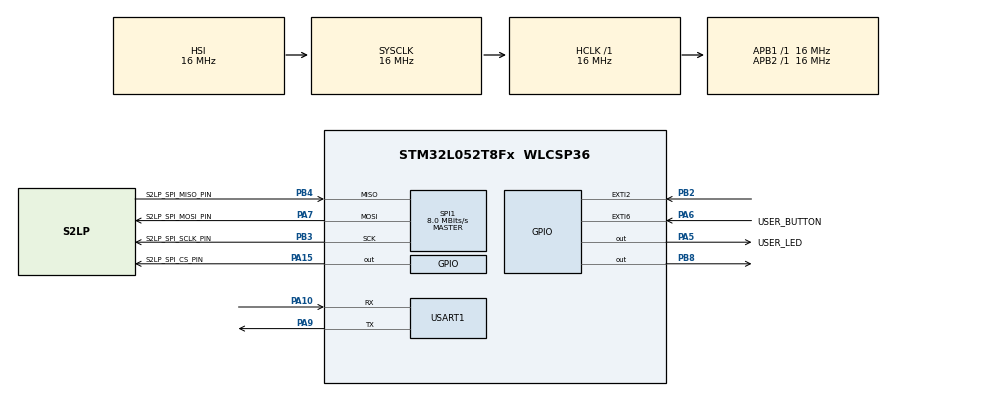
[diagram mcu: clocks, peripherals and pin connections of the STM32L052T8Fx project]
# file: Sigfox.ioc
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Dma.Request0=SPI1_TX
Dma.Request1=SPI1_RX
Dma.Request2=USART1_RX
Dma.Request3=USART1_TX
Dma.SPI1_RX.1.Direction=DMA_PERIPH_TO_MEMORY
Dma.SPI1_RX.1.Instance=DMA1_Channel2
Dma.SPI1_RX.1.MemDataAlignment=DMA_MDATAALIGN_BYTE
Dma.SPI1_RX.1.MemInc=DMA_MINC_ENABLE
Dma.SPI1_RX.1.Mode=DMA_NORMAL
Dma.SPI1_RX.1.PeriphDataAlignment=DMA_PDATAALIGN_BYTE
Dma.SPI1_RX.1.PeriphInc=DMA_PINC_DISABLE
Dma.SPI1_RX.1.Priority=DMA_PRIORITY_HIGH
Dma.SPI1_TX.0.Direction=DMA_MEMORY_TO_PERIPH
Dma.SPI1_TX.0.Instance=DMA1_Channel3
Dma.SPI1_TX.0.MemDataAlignment=DMA_MDATAALIGN_BYTE
Dma.SPI1_TX.0.MemInc=DMA_MINC_ENABLE
Dma.SPI1_TX.0.Mode=DMA_NORMAL
Dma.SPI1_TX.0.PeriphDataAlignment=DMA_PDATAALIGN_BYTE
Dma.SPI1_TX.0.PeriphInc=DMA_PINC_DISABLE
Dma.SPI1_TX.0.Priority=DMA_PRIORITY_HIGH
Dma.USART1_RX.2.Direction=DMA_PERIPH_TO_MEMORY
Dma.USART1_RX.2.Instance=DMA1_Channel5
Dma.USART1_RX.2.MemDataAlignment=DMA_MDATAALIGN_BYTE
Dma.USART1_RX.2.MemInc=DMA_MINC_ENABLE
Dma.USART1_RX.2.Mode=DMA_CIRCULAR
Dma.USART1_RX.2.PeriphDataAlignment=DMA_PDATAALIGN_BYTE
Dma.USART1_RX.2.PeriphInc=DMA_PINC_DISABLE
Dma.USART1_RX.2.Priority=DMA_PRIORITY_LOW
Dma.USART1_TX.3.Direction=DMA_MEMORY_TO_PERIPH
Dma.USART1_TX.3.Instance=DMA1_Channel4
Dma.USART1_TX.3.MemDataAlignment=DMA_MDATAALIGN_BYTE
Dma.USART1_TX.3.MemInc=DMA_MINC_ENABLE
Dma.USART1_TX.3.Mode=DMA_NORMAL
Dma.USART1_TX.3.PeriphDataAlignment=DMA_PDATAALIGN_BYTE
Dma.USART1_TX.3.PeriphInc=DMA_PINC_DISABLE
Dma.USART1_TX.3.Priority=DMA_PRIORITY_HIGH
Mcu.Family=STM32L0
Mcu.Name=STM32L052T8Fx
Mcu.Package=WLCSP36
NVIC.DMA1_Channel2_3_IRQn=true\:1\:0\:true\:false\:true\:false\:true
NVIC.DMA1_Channel4_5_6_7_IRQn=true\:0\:0\:false\:false\:true\:false\:true
NVIC.EXTI2_3_IRQn=true\:0\:0\:false\:false\:true\:true\:true
NVIC.EXTI4_15_IRQn=true\:2\:0\:true\:false\:true\:true\:true
NVIC.RTC_IRQn=true\:1\:0\:true\:false\:true\:true\:true
NVIC.TIM6_DAC_IRQn=true\:1\:0\:true\:false\:true\:true\:true
PA10.GPIO_Speed=GPIO_SPEED_FREQ_HIGH
PA10.Mode=Asynchronous
PA10.Signal=USART1_RX
PA13.Mode=Serial_Wire
PA13.Signal=SYS_SWDIO
PA14.Mode=Serial_Wire
PA14.Signal=SYS_SWCLK
PA15.GPIO_Label=S2LP_SPI_CS_PIN
PA15.GPIO_PuPd=GPIO_PULLUP
PA15.GPIO_Speed=GPIO_SPEED_FREQ_HIGH
PA15.PinState=GPIO_PIN_SET
PA15.Signal=GPIO_Output
PA5.GPIO_Label=USER_LED
PA5.Signal=GPIO_Output
PA6.GPIO_Label=USER_BUTTON
PA6.GPIO_ModeDefaultEXTI=GPIO_MODE_IT_FALLING
PA6.GPIO_PuPd=GPIO_PULLUP
PA6.Signal=GPXTI6
PA7.GPIO_Label=S2LP_SPI_MOSI_PIN
PA7.GPIO_PuPd=GPIO_PULLUP
PA7.GPIO_Speed=GPIO_SPEED_FREQ_HIGH
PA7.Mode=Full_Duplex_Master
PA7.Signal=SPI1_MOSI
PA9.Mode=Asynchronous
PA9.Signal=USART1_TX
PB2.GPIO_ModeDefaultEXTI=GPIO_MODE_IT_FALLING
PB2.Signal=GPXTI2
PB3.GPIO_Label=S2LP_SPI_SCLK_PIN
PB3.GPIO_PuPd=GPIO_PULLUP
PB3.GPIO_Speed=GPIO_SPEED_FREQ_HIGH
PB3.Mode=Full_Duplex_Master
PB3.Signal=SPI1_SCK
PB4.GPIO_Label=S2LP_SPI_MISO_PIN
PB4.GPIO_PuPd=GPIO_PULLUP
PB4.GPIO_Speed=GPIO_SPEED_FREQ_HIGH
PB4.Mode=Full_Duplex_Master
PB4.Signal=SPI1_MISO
PB8.GPIO_FM8=__NULL
PB8.GPIO_Speed=GPIO_SPEED_FREQ_HIGH
PB8.Signal=GPIO_Output
ProjectManager.HeapSize=0x200
ProjectManager.StackSize=0x400
ProjectManager.TargetToolchain=MDK-ARM V5
RCC.AHBFreq_Value=16000000
RCC.APB1Freq_Value=16000000
RCC.APB1TimFreq_Value=16000000
RCC.APB2Freq_Value=16000000
RCC.APB2TimFreq_Value=16000000
RCC.HCLKFreq_Value=16000000
RCC.HSI16_VALUE=16000000
RCC.HSI48_VALUE=48000000
RCC.HSI_VALUE=16000000
RCC.LSE_VALUE=32768
RCC.MSI_VALUE=2097000
RCC.PLLDIV=RCC_PLLDIV_4
RCC.PLLMUL=RCC_PLLMUL_4
RCC.SYSCLKFreq_VALUE=16000000
RCC.SYSCLKSource=RCC_SYSCLKSOURCE_HSI
RCC.VCOOutputFreq_Value=64000000
RTC.AsynchPrediv=127
RTC.SynchPrediv=255
RTC.WakeUpCounter=1000
SPI1.BaudRatePrescaler=SPI_BAUDRATEPRESCALER_2
SPI1.CalculateBaudRate=8.0 MBits/s
SPI1.Direction=SPI_DIRECTION_2LINES
SPI1.Mode=SPI_MODE_MASTER
SPI1.VirtualNSS=VM_NSSHARD
SPI1.VirtualType=VM_MASTER
TIM6.Period=1000-1
TIM6.Prescaler=64-1
USART1.VirtualMode-Asynchronous=VM_ASYNC
VP_RTC_VS_RTC_Activate.Mode=RTC_Enabled
VP_RTC_VS_RTC_Calendar.Mode=RTC_Calendar
VP_RTC_VS_RTC_WakeUp_intern.Mode=WakeUp
VP_TIM6_VS_ClockSourceINT.Mode=Enable_Timer
board=custom

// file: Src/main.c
/* USER CODE BEGIN Header */
/**
  ******************************************************************************
  * @file           : main.c
  * @brief          : Main program body
  ******************************************************************************
  * @attention
  *
  * <h2><center>&copy; Copyright (c) 2019 STMicroelectronics.
  * All rights reserved.</center></h2>
  *
  * This software component is licensed by ST under BSD 3-Clause license,
  * the "License"; You may not use this file except in compliance with the
  * License. You may obtain a copy of the License at:
  *                        opensource.org/licenses/BSD-3-Clause
  *
  ******************************************************************************
  */
/* USER CODE END Header */

#include "main.h"
#include "dma.h"
#include "rtc.h"
#include "spi.h"
#include "tim.h"
#include "usart.h"
#include "gpio.h"

/* USER CODE BEGIN PD */
#ifdef DOWNLINK_FLAG
	static uint8_t downlink_request = 1;
#else
	static uint8_t downlink_request = 0;
#endif
/* USER CODE END PD */

/* USER CODE BEGIN PV */
TIM_HandleTypeDef  Tim6_Handler={.Instance=TIM6};
/* USER CODE END PV */

void SystemClock_Config(void);

int main(void)
{

  /* MCU Configuration--------------------------------------------------------*/

  /* Reset of all peripherals, Initializes the Flash interface and the Systick. */
  HAL_Init();

  /* Configure the system clock */
  SystemClock_Config();

  /* Initialize all configured peripherals */
  MX_GPIO_Init();
  MX_DMA_Init();
  MX_SPI1_Init();
  MX_TIM6_Init();
  MX_RTC_Init();
  MX_USART1_UART_Init();
  /* USER CODE BEGIN 2 */

	MCU_Config();

	HT_API_OpenSigfoxLibRC2();
	HT_API_ConfigWordRC2();

  /* USER CODE END 2 */

  /* Infinite loop */
  while (1)
  {

    /* USER CODE BEGIN 3 */

		/*
		 *
		 * Wait for an external interrupt on the user button PA6.
		 * More information about the algorithm can be found in the function HT_GPIO_UserButtonHandler located in Applicaton/User/gpio.c.
		 *
		 * */
  }
  /* USER CODE END 3 */
}

void SystemClock_Config(void)
{
  RCC_OscInitTypeDef RCC_OscInitStruct = {0};
  RCC_ClkInitTypeDef RCC_ClkInitStruct = {0};
  RCC_PeriphCLKInitTypeDef PeriphClkInit = {0};

  /** Configure the main internal regulator output voltage
  */
  __HAL_PWR_VOLTAGESCALING_CONFIG(PWR_REGULATOR_VOLTAGE_SCALE1);
  /** Initializes the CPU, AHB and APB busses clocks
  */
  RCC_OscInitStruct.OscillatorType = RCC_OSCILLATORTYPE_HSI|RCC_OSCILLATORTYPE_LSI;
  RCC_OscInitStruct.HSIState = RCC_HSI_ON;
  RCC_OscInitStruct.HSICalibrationValue = RCC_HSICALIBRATION_DEFAULT;
  RCC_OscInitStruct.LSIState = RCC_LSI_ON;
  RCC_OscInitStruct.PLL.PLLState = RCC_PLL_NONE;
  if (HAL_RCC_OscConfig(&RCC_OscInitStruct) != HAL_OK)
  {
    Error_Handler();
  }
  /** Initializes the CPU, AHB and APB busses clocks
  */
  RCC_ClkInitStruct.ClockType = RCC_CLOCKTYPE_HCLK|RCC_CLOCKTYPE_SYSCLK
                              |RCC_CLOCKTYPE_PCLK1|RCC_CLOCKTYPE_PCLK2;
  RCC_ClkInitStruct.SYSCLKSource = RCC_SYSCLKSOURCE_HSI;
  RCC_ClkInitStruct.AHBCLKDivider = RCC_SYSCLK_DIV1;
  RCC_ClkInitStruct.APB1CLKDivider = RCC_HCLK_DIV1;
  RCC_ClkInitStruct.APB2CLKDivider = RCC_HCLK_DIV1;

  if (HAL_RCC_ClockConfig(&RCC_ClkInitStruct, FLASH_LATENCY_0) != HAL_OK)
  {
    Error_Handler();
  }
  PeriphClkInit.PeriphClockSelection = RCC_PERIPHCLK_USART1|RCC_PERIPHCLK_RTC;
  PeriphClkInit.Usart1ClockSelection = RCC_USART1CLKSOURCE_PCLK2;
  PeriphClkInit.RTCClockSelection = RCC_RTCCLKSOURCE_LSI;
  if (HAL_RCCEx_PeriphCLKConfig(&PeriphClkInit) != HAL_OK)
  {
    Error_Handler();
  }
}

/* USER CODE BEGIN 4 */

void HT_API_OpenSigfoxLibRC2(void) {
	sfx_error_t err;

	/********** OPEN SIGFOX LIBRARY IN RCZ2 *********************/
	/********** IN ORDER TO OPEN OTHER RCZS, SEE SIGFOX_API.h **/
	/********** BASICALLY CHANGES TO OTHER RC VALUE LIKE RC3 **/

	err=(uint32_t)SIGFOX_API_open(&(sfx_rc_t)RC2);
	printf("Error Open: %X", err);
}

void HT_API_ConfigWordRC2(void) {
	sfx_error_t err;

	sfx_u32 config_words[3]={1,0,0};

	/********** CONFIG WORDS FOR RCZ2 ***************************/
	/********** SEE THE DOC GETTING STARTED ********************/

	err = SIGFOX_API_set_std_config(config_words,0);
	printf("\nConfig word err: %X\n", err);
}

sfx_error_t HT_API_SendFrameRC2(void) {

	/********** SEND MESSAGE TO RCZ2 ****************************/

	uint8_t customer_data[12]={0xAA, 0xAA, 0xAA, 0xAA, 0xBA, 0xBA, 0xBA, 0xBA, 0xBA, 0xBA, 0xBA, 0xBA};
	uint8_t customer_resp[8];
	sfx_error_t err;

	/********** FUNCTION PARAMETERS  ****************************/
	/********** THE LAST ONE IS TO REQUEST DOWNLINK ************/
	/********** 1 - YES, 0 - NO	 ******************************/

	err=SIGFOX_API_send_frame(customer_data,sizeof(customer_data),customer_resp, 3, downlink_request);

	if(downlink_request) {
		printf("Customer resp: {");

		for(uint16_t i = 0; i < 7; i++)
			printf("0x%x,", customer_resp[i]);

		printf("0x%x}\n\r", customer_resp[7]);
	}

	printf("\nError Send Frame: %X\n", err);

	return err;
}

void closeSigfoxLib(void) {
	sfx_error_t err;

	err = SIGFOX_API_close();
	printf("Error Close: %X", err);
}

void MCU_Config(void) {
	ST_SFX_ERR stSfxRetErr;

	ST_Init();

	NVM_BoardDataType sfxConfiguration;
  stSfxRetErr = ST_Sigfox_Init(&sfxConfiguration, 0);

	if(stSfxRetErr != ST_SFX_ERR_NONE)
  {
    /* If an error occured reading Sigfox credentials (for example the board has never been registered)
     * automatically set the test mode credentials. */
    if(stSfxRetErr == ST_SFX_ERR_CREDENTIALS)
    {
			sfxConfiguration.id = 0;
			memset(sfxConfiguration.pac, 0x00, 8);
			sfxConfiguration.rcz = 0;

		} else {
				printf("Error!\n");
			}
	}

	  /* Calibrate RTC in case of STM32*/
#if  !(defined(BLUENRG2_DEVICE) || defined(BLUENRG1_DEVICE))
  /* The low level driver uses the internal RTC as a timer while the STM32 is in low power.
  This function calibrates the RTC using an auxiliary general purpose timer in order to
  increase its precision. */
  ST_MCU_API_TimerCalibration(500);
#endif

	printf("Sigfox iMCP HT32SX \n");
  printf("ID: %.8X - PAC: ", sfxConfiguration.id);

	for(uint16_t i = 0; i < sizeof(sfxConfiguration.pac); i++)
  {
		printf("%.2X", sfxConfiguration.pac[i]);
	}
	printf("\n");

	/*			SET S2LP XTAL FREQUENCY														*/
	/*			DO NOT CHANGE IT																	*/

	ST_RF_API_set_xtal_freq(50000000);

	/*			SET A PROPER FREQUENCY OFFSET											*/
	/*			THIS VALUE CAN BE FOUND IN CREDENTIALS 						*/

  ST_RF_API_set_freq_offset(sfxConfiguration.freqOffset);
	printf("Freq Offset %d \n", sfxConfiguration.freqOffset);

	/*			SET LBT OFFSET																		*/
	/*			THIS VALUE CAN BE FOUND IN CREDENTIALS 						*/

	ST_RF_API_set_lbt_thr_offset(sfxConfiguration.lbtOffset);
	printf("LBT %d \n", sfxConfiguration.lbtOffset);

	/*			SET RSSI OFFSET																		*/
	/*			THIS VALUE CAN BE FOUND IN CREDENTIALS 						*/

	ST_RF_API_set_rssi_offset(sfxConfiguration.rssiOffset);
	printf("RSSI %d \n", sfxConfiguration.rssiOffset);

  ST_RF_API_set_tcxo(0);

	/*			SET PA GAIN IN USE																*/
	/*			ALWAYS SET IT AS 1																*/

  ST_RF_API_set_pa(1);

	/*			SET OUTPUT POWER TO 22 dBm												*/
	/*			THIS VALUE CHANGES TO EACH REGION									*/

	/*********** RCZ1 ************ 				02 				**********************/
	/*********** RCZ2 ************ 			-	27 				**********************/
	/*********** RCZ3 ************ 			-	05 				**********************/
	/*********** RCZ4 ************ 			-	30	 			**********************/
	/*********** RCZ5 ************ 			-	05 				**********************/
	/*********** RCZ6 ************ 			-	02 				**********************/
	/*********** RCZ7 ************ 			-	02 				**********************/

  ST_RF_API_reduce_output_power(-27);

}

void ST_Init(void)
{
  /* Put the radio off */
  S2LPShutdownInit();
	HAL_Delay(10);
  S2LPShutdownExit();

  /* Init TIM6 which will trigger TX */
  SdkEvalTimersState(&Tim6_Handler, ENABLE);

  /* Auto detect settings, if EEPROM is available */
#if EEPROM_PRESENT == EEPROM_YES
  /* Identify the S2-LP RF board reading some production data */
  S2LPManagementIdentificationRFBoard();
#elif EEPROM_PRESENT==EEPROM_NO
  /* Set XTAL frequency with offset */
  S2LPRadioSetXtalFrequency(XTAL_FREQUENCY+XTAL_FREQUENCY_OFFSET);

  /* Set the frequency base */
  S2LPManagementSetBand(BOARD_FREQUENCY_BAND);

  /* Configure PA availability */
#if S2LP_FEM_PRESENT == S2LP_FEM_NO
  S2LPManagementSetRangeExtender(0);
#else
  S2LPManagementSetRangeExtender(1);
#endif
#endif

  /* uC IRQ config and enable */

	S2LPIRQInit();
  S2LPIRQEnable(ENABLE, M2S_GPIO_EDGE_EVENT);

    /* FEM Initialization */
  FEM_Init();

    /* TCXO Initialization */
  //TCXO_Init();

}

/* USER CODE END 4 */

void Error_Handler(void)
{
}

/************************ (C) COPYRIGHT STMicroelectronics *****END OF FILE****/
